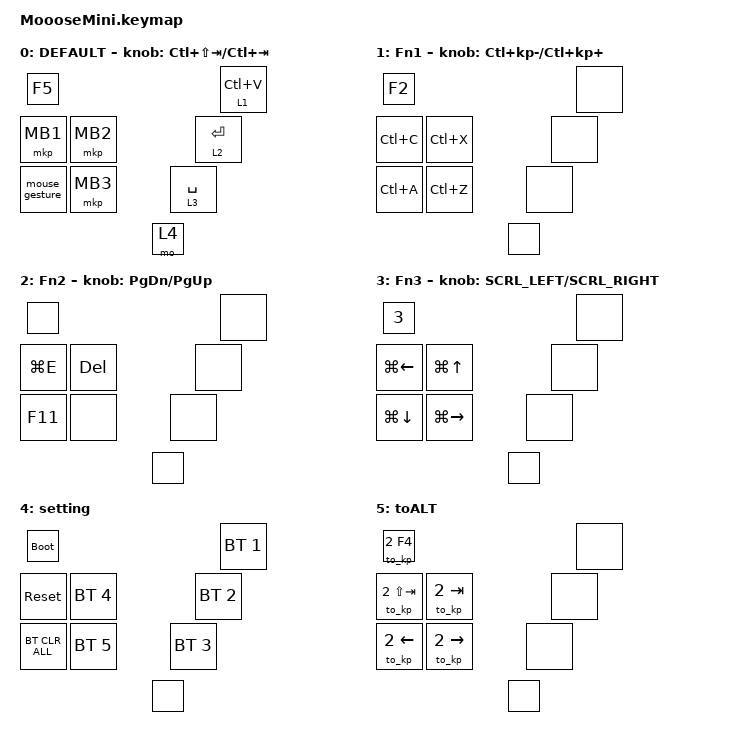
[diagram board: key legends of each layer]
#include <zephyr/dt-bindings/input/input-event-codes.h>
#include <dt-bindings/zmk/input_transform.h>
#include <input/processors.dtsi>
#include <behaviors/rgbled_widget.dtsi>
#include <mouse-gesture.dtsi>
#include <scroll-snap.dtsi>
#include <dt-bindings/zmk/mouse.h>
#include <behaviors.dtsi>
#include <dt-bindings/zmk/bt.h>
#include <dt-bindings/zmk/keys.h>
#include <dt-bindings/zmk/pointing.h>

#define ZMK_POINTING_DEFAULT_SCRL_VAL 100

&mt {
    flavor = "balanced";
    quick-tap-ms = <0>;
};

&trackball {
    cpi = <600>;
    swap-xy;
};

&trackball_listener {
    // mouse-gesture

    input-processors = <
        &zip_mouse_gesture
    >;

    // snipe
    // sniper { layers = <1>; input-processors = <&zip_xy_scaler 1 3>; process-next; };
    // scroll-snap

    scroller {
        layers = <2>;
        input-processors = <
          &zip_xy_scaler 1 24
          &zip_xy_transform (INPUT_TRANSFORM_Y_INVERT)
          &zip_xy_to_scroll_mapper
          &zip_scroll_snap
        >;

        process-next;
    };
};

// mouse-gesture

&zip_mouse_gesture {
    stroke-size = <70>;

    history_back {
        pattern = <GESTURE_LEFT>;
        bindings = <&kp LA(LEFT)>;
    };

    history_forward {
        pattern = <GESTURE_RIGHT>;
        bindings = <&kp LA(RIGHT)>;
    };

    folder_up {
        pattern = <GESTURE_UP>;
        bindings = <&kp LA(UP)>;
    };

    screenshot {
        pattern = <GESTURE_DOWN>;
        bindings = <&kp LG(LS(S))>;
    };

    close_window {
        pattern = <GESTURE_RIGHT GESTURE_UP>;
        bindings = <&kp LA(F4)>;
    };

    close_tab {
        pattern = <GESTURE_LEFT GESTURE_UP>;
        bindings = <&kp LC(W)>;
    };

    show_desktop {
        pattern = <GESTURE_RIGHT GESTURE_DOWN>;
        bindings = <&kp LG(D)>;
    };

    minimize {
        pattern = <GESTURE_LEFT GESTURE_DOWN>;
        bindings = <&kp LG(DOWN)>;
    };
};
/ {
    // zmk-listeners

    layer_listeners {
        compatible = "zmk,layer-listeners";

        // release_alt {
        //     layers = <5>;
        //     bindings = <&kt_on LEFT_ALT &kt_off LEFT_ALT>;
        // };
    };

    macros {
        // zmk-listeners

        to_kp: to_kp {
            compatible = "zmk,behavior-macro-two-param";
            #binding-cells = <2>;
            bindings = <&macro_param_1to1 &to MACRO_PLACEHOLDER &macro_param_2to1 &kp MACRO_PLACEHOLDER>;
            label = "to_kp";
        };

        // zmk-listeners

        mo_to_0: mo_to_0 {
            compatible = "zmk,behavior-macro-one-param";
            wait-ms = <0>;
            tap-ms = <0>;
            #binding-cells = <1>;
            bindings =
                <&macro_press>,
                <&macro_param_1to1 &mo MACRO_PLACEHOLDER>,
                <&macro_tap>,
                <&macro_pause_for_release>,
                <&macro_release>,
                <&macro_param_1to1 &mo MACRO_PLACEHOLDER>,
                <&macro_tap>,
                <&to 0>;

            label = "MO_to_0";
        };

        gesture: gesture {
            compatible = "zmk,behavior-macro";
            #binding-cells = <0>;
            bindings = <&macro_tap>, <&mouse_gesture>;

            label = "GESTURE";
        };

        double_click: double_click {
            compatible = "zmk,behavior-macro";
            #binding-cells = <0>;
            bindings = <&mkp MB1>, <&macro_wait_time 50>, <&mkp MB1>;

            label = "DOUBLE_CLICK";
        };
    };

    behaviors {
        // Layout shift

        original_key_press: original_key_press {
            compatible = "zmk,behavior-key-press";
            #binding-cells = <1>;
            label = "KEY_PRESS";
        };

        // Layout shift

        kp: key_press {
            compatible = "zmk,behavior-layout-shift-key-press";
            #binding-cells = <1>;
            label = "LAYOUT_SHIFT_KEY_PRESS";
        };

        // zmk-listeners

        kt_on: key_toggle_on_only {
            compatible = "zmk,behavior-key-toggle";
            #binding-cells = <1>;
            display-name = "Key Toggle On";
            toggle-mode = "on";
        };

        // zmk-listeners

        kt_off: key_toggle_off_only {
            compatible = "zmk,behavior-key-toggle";
            #binding-cells = <1>;
            display-name = "Key Toggle Off";
            toggle-mode = "off";
        };

        // zmk-listeners

        lt_to_0: lt_to_0 {
            compatible = "zmk,behavior-hold-tap";
            label = "LT_to_0";
            bindings = <&mo_to_0>, <&kp>;

            #binding-cells = <2>;
            tapping-term-ms = <150>;
            quick-tap-ms = <200>;
            flavor = "balanced";
            hold-while-undecided;
        };

        mouse_scroll: mouse_wheel_scrl {
            compatible = "zmk,behavior-sensor-rotate-var";
            #sensor-binding-cells = <2>;
            bindings = <&msc>, <&msc>;

            tap-ms = <20>;
        };

        double_click_gesture: double_click_gesture {
            compatible = "zmk,behavior-hold-tap";
            label = "DOUBLE_CLICK_GESTURE";
            bindings = <&gesture>, <&double_click>;

            #binding-cells = <2>;
            tapping-term-ms = <200>;
        };
    };

    combos { compatible = "zmk,combos"; };

    keymap {
        compatible = "zmk,keymap";

        DEFAULT {
            bindings = <
&kp F5                               &lt 1 LC(V)
&mkp MB1                   &mkp MB2  &lt 2 ENTER
&mouse_gesture  &mkp MB3  &lt 3 SPACE
                                     &mo 4
            >;

            sensor-bindings = <&inc_dec_kp LC(LS(TAB)) LC(TAB)>;
        };

        Fn1 {
            bindings = <
&kp F2                &none
&kp LC(C)  &kp LC(X)  &none
&kp LC(A)  &kp LC(Z)  &none
                      &none
            >;

            sensor-bindings = <&inc_dec_kp LC(KP_MINUS) LC(KP_PLUS)>;
        };

        Fn2 {
            bindings = <
&none                  &none
&kp LG(E)  &kp DELETE  &none
&kp F11    &none       &none
                       &none
            >;

            sensor-bindings = <&inc_dec_kp PG_DN PG_UP>;
        };

        Fn3 {
            bindings = <
&kp 3                        &none
&kp LG(LEFT)  &kp LG(UP)     &none
&kp LG(DOWN)  &kp LG(RIGHT)  &none
                             &none
            >;

            sensor-bindings = <&mouse_scroll SCRL_LEFT SCRL_RIGHT>;
        };

        setting {
            bindings = <
&bootloader                   &bt BT_SEL 1
&sys_reset      &bt BT_SEL 4  &bt BT_SEL 2
&bt BT_CLR_ALL  &bt BT_SEL 5  &bt BT_SEL 3
                              &none
            >;
        };

        toALT {
            bindings = <
&to_kp 2 F4                                &none
&to_kp 2 LS(TAB)     &to_kp 2 TAB          &none
&to_kp 2 LEFT_ARROW  &to_kp 2 RIGHT_ARROW  &none
                                           &none
            >;
        };
    };
};
